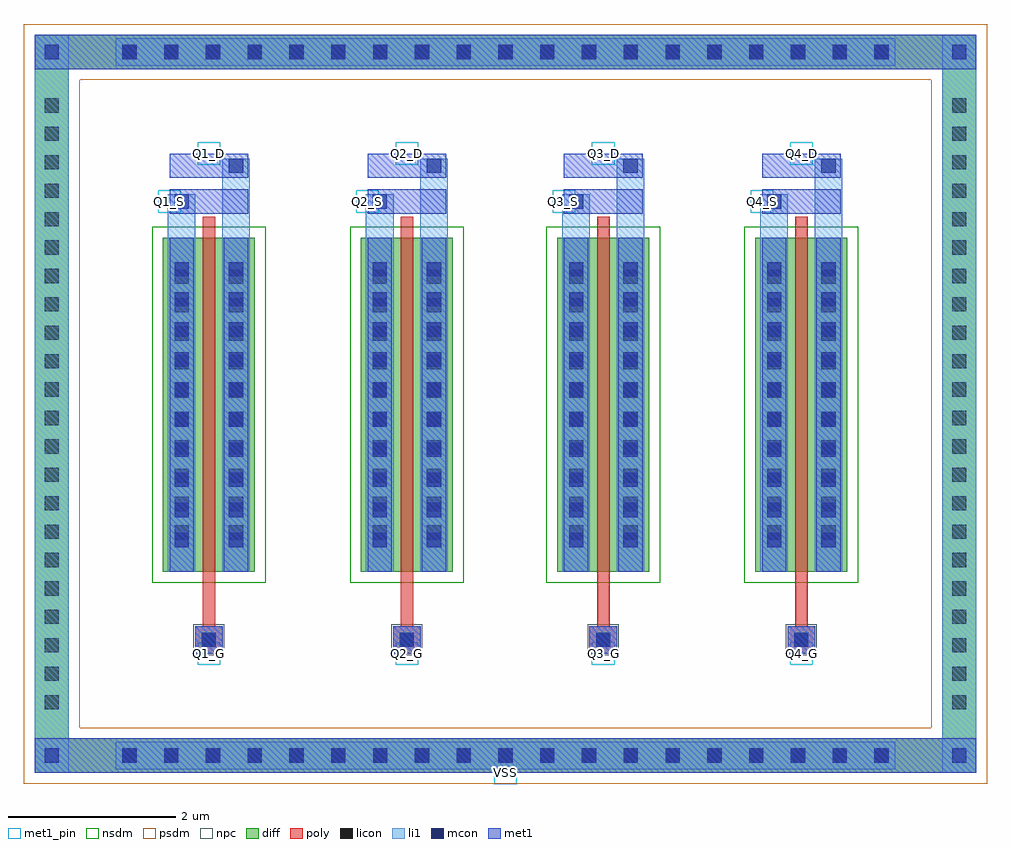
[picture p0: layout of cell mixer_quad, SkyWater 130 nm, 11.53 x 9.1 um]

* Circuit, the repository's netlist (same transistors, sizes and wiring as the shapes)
.subckt mixer_quad Q1_D Q1_G Q1_S Q2_D Q2_G Q2_S Q3_D Q3_G Q3_S Q4_D Q4_G Q4_S VSS
XQ1 Q1_D Q1_G Q1_S VSS sky130_fd_pr__nfet_01v8 W=4.0 L=0.15 nf=1 m=1
XQ2 Q2_D Q2_G Q2_S VSS sky130_fd_pr__nfet_01v8 W=4.0 L=0.15 nf=1 m=1
XQ3 Q3_D Q3_G Q3_S VSS sky130_fd_pr__nfet_01v8 W=4.0 L=0.15 nf=1 m=1
XQ4 Q4_D Q4_G Q4_S VSS sky130_fd_pr__nfet_01v8 W=4.0 L=0.15 nf=1 m=1
.ends mixer_quad

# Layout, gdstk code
import gdstk
lib = gdstk.Library(unit=1e-6, precision=5e-09)
def R(c, l, rs):  # rectangles x0, y0, x1, y1
    for r in rs: c.add(gdstk.rectangle(r[:2], r[2:], *l))
def A(c, l, x, y, w, h, nx, ny, dx, dy):  # array of equal rectangles
    R(c, l, [(x+i*dx, y+j*dy, x+i*dx+w, y+j*dy+h) for i in range(nx) for j in range(ny)])
def P(c, l, *ps):  # polygons
    for p in ps: c.add(gdstk.Polygon(p, *l))
diff = (65, 20)
poly = (66, 20)
licon = (66, 44)
li1 = (67, 20)
mcon = (67, 44)
met1_pin = (68, 16)
met1 = (68, 20)
nsdm = (93, 44)
psdm = (94, 20)
npc = (95, 20)

mixer_quad = lib.new_cell('mixer_quad')
A(mixer_quad, diff, -0.475, -4.405, 0.41, 0.41, 19, 2, 0.5, 8.42)
A(mixer_quad, diff, -1.405, -3.765, 0.41, 0.41, 1, 22, 0, 0.34)
A(mixer_quad, diff, 9.455, -3.765, 0.41, 0.41, 1, 22, 0, 0.34)
R(mixer_quad, diff, [(-0.475,-4.405,8.935,-3.995), (-1.405,-3.765,-0.995,3.785), (9.455,-3.765,9.865,3.785), (0.13,-2,1.23,2), (2.5,-2,3.6,2), (4.85,-2,5.95,2), (7.22,-2,8.32,2), (-0.475,4.015,8.935,4.425)])
P(mixer_quad, diff, [(9.865,4.425),(-1.405,4.425),(-1.405,-3.995),(-0.995,-3.995),(-0.995,4.015),(9.455,4.015),(9.455,-3.995),(-0.995,-3.995),(-1.405,-3.995),(-1.405,-4.405),(9.865,-4.405)])
R(mixer_quad, poly, [(0.515,-2.98,0.845,-2.65), (0.515,-2.98,0.845,-2.65), (2.885,-2.98,3.215,-2.65), (2.885,-2.98,3.215,-2.65), (5.235,-2.98,5.565,-2.65), (5.235,-2.98,5.565,-2.65), (7.605,-2.98,7.935,-2.65), (7.605,-2.98,7.935,-2.65), (0.605,-2.65,0.755,-2.25), (2.975,-2.65,3.125,-2.25), (5.325,-2.65,5.475,-2.25), (7.695,-2.65,7.845,-2.25), (0.605,-2.25,0.755,2.25), (2.975,-2.25,3.125,2.25), (5.325,-2.25,5.475,2.25), (7.695,-2.25,7.845,2.25)])
A(mixer_quad, licon, -0.355, -4.285, 0.17, 0.17, 19, 2, 0.5, 8.42)
A(mixer_quad, licon, -1.285, -3.645, 0.17, 0.17, 1, 22, 0, 0.34)
A(mixer_quad, licon, 9.575, -3.645, 0.17, 0.17, 1, 22, 0, 0.34)
A(mixer_quad, licon, 0.27, -1.615, 0.17, 0.17, 1, 10, 0, 0.34)
A(mixer_quad, licon, 0.92, -1.615, 0.17, 0.17, 1, 10, 0, 0.34)
A(mixer_quad, licon, 2.64, -1.615, 0.17, 0.17, 1, 10, 0, 0.34)
A(mixer_quad, licon, 3.29, -1.615, 0.17, 0.17, 1, 10, 0, 0.34)
A(mixer_quad, licon, 4.99, -1.615, 0.17, 0.17, 1, 10, 0, 0.34)
A(mixer_quad, licon, 5.64, -1.615, 0.17, 0.17, 1, 10, 0, 0.34)
A(mixer_quad, licon, 7.36, -1.615, 0.17, 0.17, 1, 10, 0, 0.34)
A(mixer_quad, licon, 8.01, -1.615, 0.17, 0.17, 1, 10, 0, 0.34)
R(mixer_quad, licon, [(0.595,-2.9,0.765,-2.73), (2.965,-2.9,3.135,-2.73), (5.315,-2.9,5.485,-2.73), (7.685,-2.9,7.855,-2.73)])
A(mixer_quad, li1, -0.435, -4.365, 0.33, 0.33, 19, 2, 0.5, 8.42)
A(mixer_quad, li1, -1.365, -3.725, 0.33, 0.33, 1, 22, 0, 0.34)
A(mixer_quad, li1, 9.495, -3.725, 0.33, 0.33, 1, 22, 0, 0.34)
A(mixer_quad, li1, 0.27, -1.705, 0.17, 0.17, 1, 10, 0, 0.36)
A(mixer_quad, li1, 0.92, -1.705, 0.17, 0.17, 1, 10, 0, 0.36)
A(mixer_quad, li1, 2.64, -1.705, 0.17, 0.17, 1, 10, 0, 0.36)
A(mixer_quad, li1, 3.29, -1.705, 0.17, 0.17, 1, 10, 0, 0.36)
A(mixer_quad, li1, 4.99, -1.705, 0.17, 0.17, 1, 10, 0, 0.36)
A(mixer_quad, li1, 5.64, -1.705, 0.17, 0.17, 1, 10, 0, 0.36)
A(mixer_quad, li1, 7.36, -1.705, 0.17, 0.17, 1, 10, 0, 0.36)
A(mixer_quad, li1, 8.01, -1.705, 0.17, 0.17, 1, 10, 0, 0.36)
A(mixer_quad, li1, 0.19, -1.695, 0.33, 0.33, 1, 10, 0, 0.34)
A(mixer_quad, li1, 0.84, -1.695, 0.33, 0.33, 1, 10, 0, 0.34)
A(mixer_quad, li1, 2.56, -1.695, 0.33, 0.33, 1, 10, 0, 0.34)
A(mixer_quad, li1, 3.21, -1.695, 0.33, 0.33, 1, 10, 0, 0.34)
A(mixer_quad, li1, 4.91, -1.695, 0.33, 0.33, 1, 10, 0, 0.34)
A(mixer_quad, li1, 5.56, -1.695, 0.33, 0.33, 1, 10, 0, 0.34)
A(mixer_quad, li1, 7.28, -1.695, 0.33, 0.33, 1, 10, 0, 0.34)
A(mixer_quad, li1, 7.93, -1.695, 0.33, 0.33, 1, 10, 0, 0.34)
R(mixer_quad, li1, [(-1.405,-4.405,-0.995,-3.995), (9.455,-4.405,9.865,-3.995), (-0.435,-4.365,8.895,-4.035), (-1.285,-4.285,-1.115,-4.115), (-1.285,-4.285,-1.115,-4.115), (9.575,-4.285,9.745,-4.115), (9.575,-4.285,9.745,-4.115), (-1.405,-3.995,-0.995,4.015), (9.455,-3.995,9.865,4.015), (0.515,-2.98,0.845,-2.65), (2.885,-2.98,3.215,-2.65), (5.235,-2.98,5.565,-2.65), (7.605,-2.98,7.935,-2.65), (0.19,-2,0.52,2), (0.84,-2,1.17,2), (2.56,-2,2.89,2), (3.21,-2,3.54,2), (4.91,-2,5.24,2), (5.56,-2,5.89,2), (7.28,-2,7.61,2), (7.93,-2,8.26,2), (0.27,-1.705,0.44,1.705), (0.92,-1.705,1.09,1.705), (2.64,-1.705,2.81,1.705), (3.29,-1.705,3.46,1.705), (4.99,-1.705,5.16,1.705), (5.64,-1.705,5.81,1.705), (7.36,-1.705,7.53,1.705), (8.01,-1.705,8.18,1.705), (0.19,2,0.52,2.515), (0.84,2,1.17,2.945), (2.56,2,2.89,2.515), (3.21,2,3.54,2.945), (4.91,2,5.24,2.515), (5.56,2,5.89,2.945), (7.28,2,7.61,2.515), (7.93,2,8.26,2.945), (0.27,2.345,0.44,2.515), (2.64,2.345,2.81,2.515), (4.99,2.345,5.16,2.515), (7.36,2.345,7.53,2.515), (0.92,2.775,1.09,2.945), (3.29,2.775,3.46,2.945), (5.64,2.775,5.81,2.945), (8.01,2.775,8.18,2.945), (-1.405,4.015,-0.995,4.425), (9.455,4.015,9.865,4.425), (-0.435,4.055,8.895,4.385), (-1.285,4.135,-1.115,4.305), (-1.285,4.135,-1.115,4.305), (9.575,4.135,9.745,4.305), (9.575,4.135,9.745,4.305)])
A(mixer_quad, mcon, -0.355, -4.285, 0.17, 0.17, 19, 2, 0.5, 8.42)
A(mixer_quad, mcon, 0.27, -1.705, 0.17, 0.17, 1, 10, 0, 0.36)
A(mixer_quad, mcon, 0.92, -1.705, 0.17, 0.17, 1, 10, 0, 0.36)
A(mixer_quad, mcon, 2.64, -1.705, 0.17, 0.17, 1, 10, 0, 0.36)
A(mixer_quad, mcon, 3.29, -1.705, 0.17, 0.17, 1, 10, 0, 0.36)
A(mixer_quad, mcon, 4.99, -1.705, 0.17, 0.17, 1, 10, 0, 0.36)
A(mixer_quad, mcon, 5.64, -1.705, 0.17, 0.17, 1, 10, 0, 0.36)
A(mixer_quad, mcon, 7.36, -1.705, 0.17, 0.17, 1, 10, 0, 0.36)
A(mixer_quad, mcon, 8.01, -1.705, 0.17, 0.17, 1, 10, 0, 0.36)
R(mixer_quad, mcon, [(-1.285,-4.285,-1.115,-4.115), (9.575,-4.285,9.745,-4.115), (0.595,-2.9,0.765,-2.73), (2.965,-2.9,3.135,-2.73), (5.315,-2.9,5.485,-2.73), (7.685,-2.9,7.855,-2.73), (0.27,2.345,0.44,2.515), (2.64,2.345,2.81,2.515), (4.99,2.345,5.16,2.515), (7.36,2.345,7.53,2.515), (0.92,2.775,1.09,2.945), (3.29,2.775,3.46,2.945), (5.64,2.775,5.81,2.945), (8.01,2.775,8.18,2.945), (-1.285,4.135,-1.115,4.305), (9.575,4.135,9.745,4.305)])
R(mixer_quad, met1_pin, [(4.095,-4.54,4.365,-4.27), (0.545,-3.115,0.815,-2.845), (2.915,-3.115,3.185,-2.845), (5.265,-3.115,5.535,-2.845), (7.635,-3.115,7.905,-2.845), (0.075,2.295,0.345,2.565), (2.445,2.295,2.715,2.565), (4.795,2.295,5.065,2.565), (7.165,2.295,7.435,2.565), (0.545,2.87,0.815,3.14), (2.915,2.87,3.185,3.14), (5.265,2.87,5.535,3.14), (7.635,2.87,7.905,3.14)])
A(mixer_quad, met1, -0.415, -4.345, 0.29, 0.29, 19, 2, 0.5, 8.42)
A(mixer_quad, met1, 0.21, -1.765, 0.29, 0.29, 1, 10, 0, 0.36)
A(mixer_quad, met1, 0.86, -1.765, 0.29, 0.29, 1, 10, 0, 0.36)
A(mixer_quad, met1, 2.58, -1.765, 0.29, 0.29, 1, 10, 0, 0.36)
A(mixer_quad, met1, 3.23, -1.765, 0.29, 0.29, 1, 10, 0, 0.36)
A(mixer_quad, met1, 4.93, -1.765, 0.29, 0.29, 1, 10, 0, 0.36)
A(mixer_quad, met1, 5.58, -1.765, 0.29, 0.29, 1, 10, 0, 0.36)
A(mixer_quad, met1, 7.3, -1.765, 0.29, 0.29, 1, 10, 0, 0.36)
A(mixer_quad, met1, 7.95, -1.765, 0.29, 0.29, 1, 10, 0, 0.36)
R(mixer_quad, met1, [(-1.405,-4.405,-0.995,-3.995), (-1.405,-4.405,-0.995,-3.995), (-0.995,-4.405,9.455,-3.995), (9.455,-4.405,9.865,-3.995), (9.455,-4.405,9.865,-3.995), (-1.345,-4.345,-1.055,-4.055), (9.515,-4.345,9.805,-4.055), (0.515,-2.98,0.845,-2.65), (2.885,-2.98,3.215,-2.65), (5.235,-2.98,5.565,-2.65), (7.605,-2.98,7.935,-2.65), (0.535,-2.96,0.825,-2.67), (2.905,-2.96,3.195,-2.67), (5.255,-2.96,5.545,-2.67), (7.625,-2.96,7.915,-2.67), (0.21,-2,0.5,2), (0.86,-2,1.15,2), (2.58,-2,2.87,2), (3.23,-2,3.52,2), (4.93,-2,5.22,2), (5.58,-2,5.87,2), (7.3,-2,7.59,2), (7.95,-2,8.24,2), (0.21,2.285,0.5,2.575), (0.21,2.285,1.15,2.575), (2.58,2.285,2.87,2.575), (2.58,2.285,3.52,2.575), (4.93,2.285,5.22,2.575), (4.93,2.285,5.87,2.575), (7.3,2.285,7.59,2.575), (7.3,2.285,8.24,2.575), (0.21,2.715,1.15,3.005), (0.86,2.715,1.15,3.005), (2.58,2.715,3.52,3.005), (3.23,2.715,3.52,3.005), (4.93,2.715,5.87,3.005), (5.58,2.715,5.87,3.005), (7.3,2.715,8.24,3.005), (7.95,2.715,8.24,3.005), (-1.405,4.015,-0.995,4.425), (-1.405,4.015,-0.995,4.425), (-0.995,4.015,9.455,4.425), (9.455,4.015,9.865,4.425), (9.455,4.015,9.865,4.425), (-1.345,4.075,-1.055,4.365), (9.515,4.075,9.805,4.365)])
R(mixer_quad, nsdm, [(0,-2.13,1.36,2.13), (2.37,-2.13,3.73,2.13), (4.72,-2.13,6.08,2.13), (7.09,-2.13,8.45,2.13)])
P(mixer_quad, psdm, [(9.995,4.555),(-1.535,4.555),(-1.535,-3.865),(-0.865,-3.865),(-0.865,3.885),(9.325,3.885),(9.325,-3.865),(-0.865,-3.865),(-1.535,-3.865),(-1.535,-4.535),(9.995,-4.535)])
R(mixer_quad, npc, [(0.495,-3,0.865,-2.63), (0.495,-3,0.865,-2.63), (2.865,-3,3.235,-2.63), (2.865,-3,3.235,-2.63), (5.215,-3,5.585,-2.63), (5.215,-3,5.585,-2.63), (7.585,-3,7.955,-2.63), (7.585,-3,7.955,-2.63)])
mixer_quad.add(gdstk.Label('VSS', (4.23,-4.405), layer=68, texttype=5))
mixer_quad.add(gdstk.Label('Q4_G', (7.77,-2.98), layer=68, texttype=5))
mixer_quad.add(gdstk.Label('Q4_S', (7.3,2.43), layer=68, texttype=5))
mixer_quad.add(gdstk.Label('Q4_D', (7.77,3.005), layer=68, texttype=5))
mixer_quad.add(gdstk.Label('Q3_G', (5.4,-2.98), layer=68, texttype=5))
mixer_quad.add(gdstk.Label('Q3_S', (4.93,2.43), layer=68, texttype=5))
mixer_quad.add(gdstk.Label('Q3_D', (5.4,3.005), layer=68, texttype=5))
mixer_quad.add(gdstk.Label('Q2_G', (3.05,-2.98), layer=68, texttype=5))
mixer_quad.add(gdstk.Label('Q2_S', (2.58,2.43), layer=68, texttype=5))
mixer_quad.add(gdstk.Label('Q2_D', (3.05,3.005), layer=68, texttype=5))
mixer_quad.add(gdstk.Label('Q1_G', (0.68,-2.98), layer=68, texttype=5))
mixer_quad.add(gdstk.Label('Q1_S', (0.21,2.43), layer=68, texttype=5))
mixer_quad.add(gdstk.Label('Q1_D', (0.68,3.005), layer=68, texttype=5))

lib.write_gds('mixer_quad.gds')
